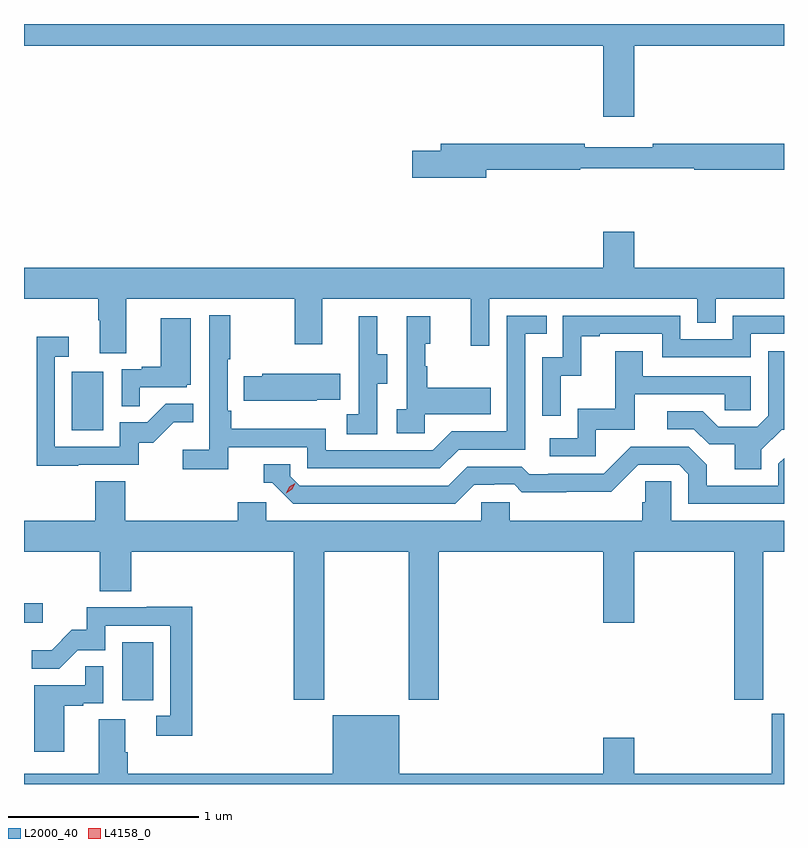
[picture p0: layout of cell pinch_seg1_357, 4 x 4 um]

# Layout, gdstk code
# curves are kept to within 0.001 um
import gdstk
lib = gdstk.Library(unit=1e-6, precision=1e-09)
def R(c, l, rs):  # rectangles x0, y0, x1, y1
    for r in rs: c.add(gdstk.rectangle(r[:2], r[2:], *l))
def P(c, l, *ps):  # polygons
    for p in ps: c.add(gdstk.Polygon(p, *l))
L2000_40 = (2000, 40)
L4158_0 = (4158, 0)

pinch_seg1_357 = lib.new_cell('pinch_seg1_357')
R(pinch_seg1_357, L2000_40, [(989.648,542.958,989.812,543.265), (989.132,543.368,989.23,543.47), (989.384,544.38,989.548,544.687)])
P(pinch_seg1_357, L2000_40, [(992.344,546.404),(993.132,546.404),(993.132,546.518),(989.132,546.518),(989.132,546.404),(992.18,546.404),(992.18,546.03),(992.344,546.03)],
  [(991.564,545.752),(992.06,545.752),(992.06,545.76),(992.66,545.76),(992.66,545.752),(993.132,545.752),(993.132,545.888),(992.44,545.888),(992.44,545.869),(992.084,545.869),(992.084,545.888),(991.325,545.888),(991.325,545.852),(991.176,545.852),(991.176,545.71),(991.564,545.71)],
  [(989.671,545.072),(990.556,545.072),(990.556,544.833),(990.703,544.833),(990.703,545.072),(991.484,545.072),(991.484,544.824),(991.581,544.824),(991.581,545.072),(992.676,545.072),(992.676,544.945),(992.772,544.945),(992.772,545.072),(993.132,545.072),(993.132,545.236),(992.344,545.236),(992.344,545.425),(992.18,545.425),(992.18,545.236),(989.132,545.236),(989.132,545.072),(989.524,545.072),(989.524,544.96),(989.531,544.96),(989.531,544.786),(989.671,544.786)],
  [(990.206,544.29),(990.624,544.29),(990.624,544.179),(991.321,544.179),(991.42,544.278),(991.77,544.278),(991.77,544.887),(991.883,544.887),(991.883,544.983),(991.674,544.983),(991.674,544.374),(991.383,544.374),(991.284,544.275),(990.72,544.275),(990.72,544.387),(990.224,544.387),(990.224,544.483),(990.204,544.483),(990.204,544.753),(990.217,544.753),(990.217,544.984),(990.108,544.984),(990.108,544.276),(989.967,544.276),(989.967,544.174),(990.206,544.174)],
  [(991.956,544.667),(992.066,544.667),(992.066,544.875),(992.161,544.875),(992.161,544.887),(992.49,544.887),(992.49,544.764),(992.958,544.764),(992.958,544.887),(993.132,544.887),(993.132,544.983),(992.862,544.983),(992.862,544.86),(992.586,544.86),(992.586,544.983),(991.968,544.983),(991.968,544.764),(991.86,544.764),(991.86,544.455),(991.956,544.455)],
  [(991.242,544.463),(991.589,544.463),(991.589,544.603),(991.255,544.603),(991.255,544.718),(991.245,544.718),(991.245,544.836),(991.27,544.836),(991.27,544.981),(991.146,544.981),(991.146,544.49),(991.095,544.49),(991.095,544.365),(991.242,544.365)],
  [(990.99,544.624),(991.045,544.624),(991.045,544.779),(990.991,544.779),(990.991,544.981),(990.893,544.981),(990.893,544.767),(990.894,544.767),(990.894,544.463),(990.831,544.463),(990.831,544.36),(990.99,544.36)],
  [(989.741,544.605),(989.988,544.605),(989.988,544.62),(990.01,544.62),(990.01,544.969),(989.852,544.969),(989.852,544.714),(989.753,544.714),(989.753,544.701),(989.646,544.701),(989.646,544.507),(989.741,544.507)],
  [(989.417,544.197),(989.736,544.197),(989.736,544.314),(989.812,544.314),(989.919,544.421),(990.023,544.421),(990.023,544.52),(989.879,544.52),(989.781,544.422),(989.637,544.422),(989.637,544.293),(989.295,544.293),(989.295,544.767),(989.368,544.767),(989.368,544.873),(989.199,544.873),(989.198,544.192),(989.417,544.192)],
  [(992.142,544.383),(992.347,544.383),(992.347,544.569),(992.821,544.569),(992.821,544.485),(992.958,544.485),(992.958,544.665),(992.389,544.665),(992.389,544.795),(992.245,544.795),(992.245,544.492),(992.046,544.492),(992.046,544.338),(991.899,544.338),(991.899,544.242),(992.142,544.242)],
  [(993.013,544.276),(993.12,544.383),(993.132,544.383),(993.132,544.795),(993.048,544.795),(993.048,544.455),(992.991,544.398),(992.785,544.398),(992.704,544.479),(992.517,544.479),(992.517,544.386),(992.658,544.386),(992.738,544.306),(992.873,544.306),(992.873,544.174),(993.013,544.174)],
  [(990.672,544.541),(990.797,544.541),(990.797,544.678),(990.387,544.678),(990.387,544.665),(990.289,544.665),(990.289,544.535),(990.672,544.535)],
  [(991.501,544.092),(991.608,544.092),(991.608,544.095),(991.711,544.095),(991.753,544.053),(991.986,544.053),(991.986,544.055),(992.222,544.055),(992.364,544.197),(992.58,544.197),(992.628,544.149),(992.628,543.993),(993.132,543.993),(993.132,544.233),(993.102,544.203),(993.102,544.089),(992.725,544.089),(992.725,544.199),(992.631,544.293),(992.325,544.293),(992.184,544.152),(991.891,544.152),(991.891,544.149),(991.792,544.149),(991.753,544.188),(991.464,544.188),(991.365,544.089),(990.582,544.089),(990.534,544.137),(990.534,544.2),(990.395,544.2),(990.395,544.104),(990.438,544.104),(990.549,543.993),(991.402,543.993)],
  [(990.711,543.74),(991.156,543.74),(991.156,542.961),(991.316,542.961),(991.316,543.74),(992.18,543.74),(992.18,543.366),(992.344,543.366),(992.344,543.74),(992.87,543.74),(992.87,542.961),(993.022,542.961),(993.022,543.74),(993.132,543.74),(993.132,543.904),(992.538,543.904),(992.538,544.112),(992.401,544.112),(992.401,544.002),(992.387,544.002),(992.387,543.904),(991.689,543.904),(991.689,544.002),(991.539,544.002),(991.539,543.904),(990.408,543.904),(990.408,544.002),(990.257,544.002),(990.257,543.904),(989.666,543.904),(989.666,544.112),(989.506,544.112),(989.506,543.904),(989.132,543.904),(989.132,543.74),(989.531,543.74),(989.531,543.532),(989.696,543.532),(989.696,543.74),(990.551,543.74),(990.551,542.961),(990.711,542.961)],
  [(990.017,543.452),(989.779,543.452),(989.779,543.447),(989.461,543.447),(989.461,543.33),(989.384,543.33),(989.277,543.223),(989.173,543.223),(989.173,543.124),(989.317,543.124),(989.415,543.222),(989.559,543.222),(989.559,543.351),(989.901,543.351),(989.901,542.877),(989.829,542.877),(989.829,542.772),(990.017,542.772)],
  [(989.344,542.931),(989.444,542.931),(989.444,542.943),(989.55,542.943),(989.55,543.137),(989.455,543.137),(989.455,543.039),(989.186,543.039),(989.186,542.688),(989.344,542.688)],
  [(993.132,542.889),(993.068,542.889),(993.068,542.572),(992.344,542.572),(992.344,542.761),(992.18,542.761),(992.18,542.572),(991.108,542.572),(991.108,542.881),(990.758,542.881),(990.758,542.572),(989.678,542.572),(989.678,542.684),(989.665,542.684),(989.665,542.858),(989.525,542.858),(989.525,542.572),(989.132,542.572),(989.132,542.518),(993.132,542.518)])
P(pinch_seg1_357, L4158_0, [(990.513,544.049),(990.513,544.049),(990.529,544.082),(990.56,544.101),(990.56,544.101),(990.56,544.101),(990.544,544.069),(990.513,544.049)])

lib.write_gds('pinch_seg1_357.gds')
